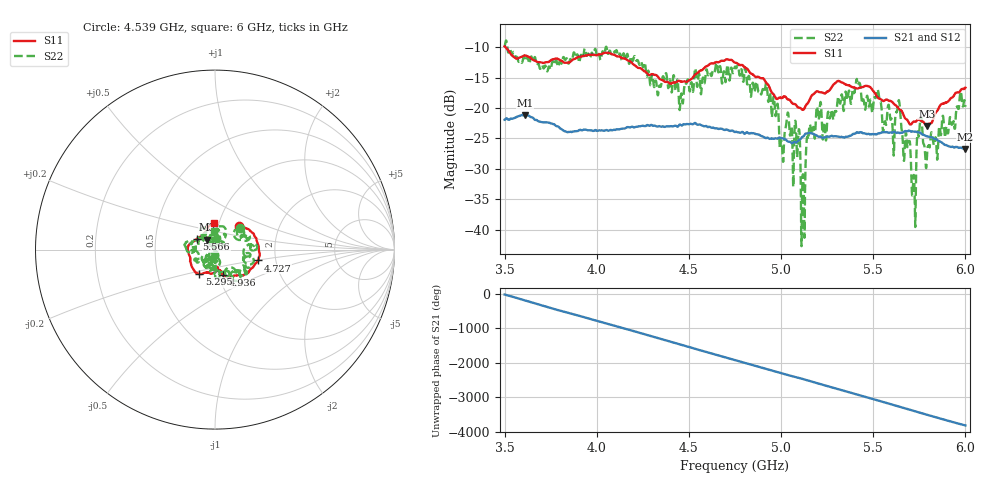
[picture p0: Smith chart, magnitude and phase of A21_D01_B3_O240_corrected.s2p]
! Created with skrf 1.9.0 (http://scikit-rf.org).
# Hz S RI R 50.0
!freq ReS11 ImS11 ReS21 ImS21 ReS12 ImS12 ReS22 ImS22
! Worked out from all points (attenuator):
!   1601 points, 3.5 GHz to 6 GHz, reference 50 ohm
!   highest |S21| = -21.16 dB at 3.611 GHz (marker M1); lowest = -26.7 dB at 6 GHz (marker M2)
!   lowest |S11| = -23.0 dB at 5.791 GHz (marker M3), VSWR 1.15, Z = 45.4 + j5.02 ohm
!   |S11| at or under -10 dB: 3.504 GHz to end of sweep
!   |S22| runs from -42.7 to -8.9 dB; largest |S21 - S12| = 0.0013
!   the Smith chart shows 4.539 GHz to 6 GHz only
!   S11 on the Smith chart (normalised r, x): 4.539 GHz: 1.26, +0.35; 4.727 GHz: 1.62, -0.21; 4.936 GHz: 1.04, -0.31; 5.295 GHz: 0.81, -0.22; 5.566 GHz: 0.81, +0.10; 6 GHz: 0.95, +0.28
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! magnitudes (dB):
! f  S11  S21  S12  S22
! 3.5 GHz  -9.9  -21.9  -22.0  -9.9
! 3.611 GHz  -11.3  -21.2  -21.2  -12.1
! 3.917 GHz  -11.5  -23.7  -23.7  -11.3
! 4.334 GHz  -15.0  -23.0  -23.0  -17.4
! 4.539 GHz  -14.4  -22.6  -22.6  -14.6
! 4.727 GHz  -12.1  -23.8  -23.7  -14.0
! 4.75 GHz  -12.6  -24.0  -23.9  -13.2
! 4.936 GHz  -16.5  -25.1  -25.1  -17.9
! 5.003 GHz  -18.4  -25.0  -25.0  -25.6
! 5.088 GHz  -19.8  -25.6  -25.6  -28.1
! 5.119 GHz  -20.3  -24.7  -24.7  -30.9
! 5.145 GHz  -19.2  -24.2  -24.2  -25.0
! 5.167 GHz  -17.9  -24.2  -24.2  -24.3
! 5.295 GHz  -15.9  -24.7  -24.6  -20.6
! 5.417 GHz  -16.8  -24.0  -24.1  -16.3
! 5.566 GHz  -18.7  -24.0  -23.9  -22.3
! 5.584 GHz  -18.8  -24.0  -24.1  -19.5
! 5.639 GHz  -20.2  -24.1  -24.1  -18.7
! 5.719 GHz  -22.3  -23.9  -23.9  -31.3
! 5.752 GHz  -22.0  -24.1  -24.0  -23.0
! 5.791 GHz  -23.0  -24.7  -24.6  -28.5
! 6 GHz  -16.7  -26.7  -26.7  -19.8
